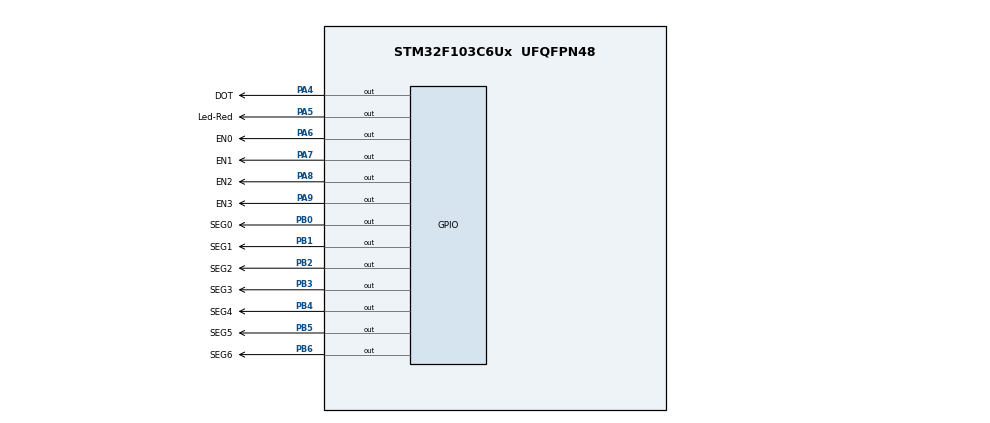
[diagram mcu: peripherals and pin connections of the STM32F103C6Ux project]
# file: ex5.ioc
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Mcu.Family=STM32F1
Mcu.Name=STM32F103C6Ux
Mcu.Package=UFQFPN48
NVIC.PriorityGroup=NVIC_PRIORITYGROUP_4
NVIC.TIM2_IRQn=true\:0\:0\:false\:false\:true\:true\:true
PA4.GPIO_Label=DOT
PA4.Signal=GPIO_Output
PA5.GPIO_Label=Led-Red
PA5.Signal=GPIO_Output
PA6.GPIO_Label=EN0
PA6.Signal=GPIO_Output
PA7.GPIO_Label=EN1
PA7.Signal=GPIO_Output
PA8.GPIO_Label=EN2
PA8.Signal=GPIO_Output
PA9.GPIO_Label=EN3
PA9.Signal=GPIO_Output
PB0.GPIO_Label=SEG0
PB0.Signal=GPIO_Output
PB1.GPIO_Label=SEG1
PB1.Signal=GPIO_Output
PB2.GPIO_Label=SEG2
PB2.Signal=GPIO_Output
PB3.GPIO_Label=SEG3
PB3.Signal=GPIO_Output
PB4.GPIO_Label=SEG4
PB4.Signal=GPIO_Output
PB5.GPIO_Label=SEG5
PB5.Signal=GPIO_Output
PB6.GPIO_Label=SEG6
PB6.Signal=GPIO_Output
ProjectManager.HeapSize=0x200
ProjectManager.StackSize=0x400
ProjectManager.TargetToolchain=STM32CubeIDE
RCC.APB1Freq_Value=8000000
RCC.APB2Freq_Value=8000000
TIM2.Period=9
TIM2.Prescaler=7999
VP_SYS_VS_ND.Mode=No_Debug
VP_TIM2_VS_ClockSourceINT.Mode=Internal
board=custom

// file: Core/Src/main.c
/* USER CODE BEGIN Header */
/**
  ******************************************************************************
  * @file           : main.c
  * @brief          : Giải quyết Bài 5 - Digital Clock với khối ngắt Timer (Tối ưu tần số quét)
  ******************************************************************************
  */
/* USER CODE END Header */
#include "main.h"

TIM_HandleTypeDef htim2;

void SystemClock_Config(void);
static void MX_GPIO_Init(void);
static void MX_TIM2_Init(void);

/* USER CODE BEGIN PFP */
void update7SEG(int index);
void display7SEG(uint8_t num);
void turnOffAll7SEG(void);
void updateClockBuffer(void);
/* USER CODE END PFP */

/* USER CODE BEGIN 0 */
int hour = 15;
int minute = 8;
int second = 50;
int led_buffer[4] = {1, 5, 0, 8};
int index_led = 0;
const int MAX_LED = 4;

int led_scan_counter = 0; // Biến đếm để giảm tần số quét LED 7 đoạn xuống 1Hz

void updateClockBuffer(void) {
    // Tách các chữ số hiển thị
    led_buffer[0] = hour / 10;
    led_buffer[1] = hour % 10;
    led_buffer[2] = minute / 10;
    led_buffer[3] = minute % 10;
}

void display7SEG(uint8_t num) {
    const uint8_t segment[10][7] = {
        {1, 1, 1, 1, 1, 1, 0}, // 0
        {0, 1, 1, 0, 0, 0, 0}, // 1
        {1, 1, 0, 1, 1, 0, 1}, // 2
        {1, 1, 1, 1, 0, 0, 1}, // 3
        {0, 1, 1, 0, 0, 1, 1}, // 4
        {1, 0, 1, 1, 0, 1, 1}, // 5
        {1, 0, 1, 1, 1, 1, 1}, // 6
        {1, 1, 1, 0, 0, 0, 0}, // 7
        {1, 1, 1, 1, 1, 1, 1}, // 8
        {1, 1, 1, 1, 0, 1, 1}  // 9
    };

    if (num > 9) return;

    HAL_GPIO_WritePin(SEG0_GPIO_Port, SEG0_Pin, segment[num][0] ? GPIO_PIN_RESET : GPIO_PIN_SET);
    HAL_GPIO_WritePin(SEG1_GPIO_Port, SEG1_Pin, segment[num][1] ? GPIO_PIN_RESET : GPIO_PIN_SET);
    HAL_GPIO_WritePin(SEG2_GPIO_Port, SEG2_Pin, segment[num][2] ? GPIO_PIN_RESET : GPIO_PIN_SET);
    HAL_GPIO_WritePin(SEG3_GPIO_Port, SEG3_Pin, segment[num][3] ? GPIO_PIN_RESET : GPIO_PIN_SET);
    HAL_GPIO_WritePin(SEG4_GPIO_Port, SEG4_Pin, segment[num][4] ? GPIO_PIN_RESET : GPIO_PIN_SET);
    HAL_GPIO_WritePin(SEG5_GPIO_Port, SEG5_Pin, segment[num][5] ? GPIO_PIN_RESET : GPIO_PIN_SET);
    HAL_GPIO_WritePin(SEG6_GPIO_Port, SEG6_Pin, segment[num][6] ? GPIO_PIN_RESET : GPIO_PIN_SET);
}

void turnOffAll7SEG(void) {
    HAL_GPIO_WritePin(EN0_GPIO_Port, EN0_Pin, GPIO_PIN_SET);
    HAL_GPIO_WritePin(EN1_GPIO_Port, EN1_Pin, GPIO_PIN_SET);
    HAL_GPIO_WritePin(EN2_GPIO_Port, EN2_Pin, GPIO_PIN_SET);
    HAL_GPIO_WritePin(EN3_GPIO_Port, EN3_Pin, GPIO_PIN_SET);
}

void update7SEG(int index) {
    turnOffAll7SEG();

    switch (index) {
        case 0:
            display7SEG(led_buffer[0]);
            HAL_GPIO_WritePin(EN0_GPIO_Port, EN0_Pin, GPIO_PIN_RESET);
            break;
        case 1:
            display7SEG(led_buffer[1]);
            HAL_GPIO_WritePin(EN1_GPIO_Port, EN1_Pin, GPIO_PIN_RESET);
            break;
        case 2:
            display7SEG(led_buffer[2]);
            HAL_GPIO_WritePin(EN2_GPIO_Port, EN2_Pin, GPIO_PIN_RESET);
            break;
        case 3:
            display7SEG(led_buffer[3]);
            HAL_GPIO_WritePin(EN3_GPIO_Port, EN3_Pin, GPIO_PIN_RESET);
            break;
        default:
            break;
    }
}
/* USER CODE END 0 */

int main(void)
{
  /* MCU Configuration--------------------------------------------------------*/
  HAL_Init();
  SystemClock_Config();
  MX_GPIO_Init();
  MX_TIM2_Init();

  /* USER CODE BEGIN 2 */
  updateClockBuffer();
  HAL_TIM_Base_Start_IT(&htim2);
  /* USER CODE END 2 */

  /* Infinite loop */
  /* USER CODE BEGIN WHILE */
  while (1)
  {
      // Bài 5: Xử lý logic đồng hồ và thời gian bằng hàm Delay
      second++;
      if (second >= 60) {
          second = 0;
          minute++;
          if (minute >= 60) {
              minute = 0;
              hour++;
          }
      }
      if (hour >= 24) {
          hour = 0;
      }

      updateClockBuffer();

      // Chớp tắt LED DOT nhịp nhàng theo đồng hồ đếm (mỗi 1 giây)
      HAL_GPIO_TogglePin(DOT_GPIO_Port, DOT_Pin);

      // Tạo trễ chặn để mô phỏng 1 giây trôi qua
      HAL_Delay(1000);
  /* USER CODE END WHILE */

  }
}

void SystemClock_Config(void)
{
  RCC_OscInitTypeDef RCC_OscInitStruct = {0};
  RCC_ClkInitTypeDef RCC_ClkInitStruct = {0};

  RCC_OscInitStruct.OscillatorType = RCC_OSCILLATORTYPE_HSI;
  RCC_OscInitStruct.HSIState = RCC_HSI_ON;
  RCC_OscInitStruct.HSICalibrationValue = RCC_HSICALIBRATION_DEFAULT;
  RCC_OscInitStruct.PLL.PLLState = RCC_PLL_NONE;
  if (HAL_RCC_OscConfig(&RCC_OscInitStruct) != HAL_OK)
  {
    Error_Handler();
  }

  RCC_ClkInitStruct.ClockType = RCC_CLOCKTYPE_HCLK|RCC_CLOCKTYPE_SYSCLK
                              |RCC_CLOCKTYPE_PCLK1|RCC_CLOCKTYPE_PCLK2;
  RCC_ClkInitStruct.SYSCLKSource = RCC_SYSCLKSOURCE_HSI;
  RCC_ClkInitStruct.AHBCLKDivider = RCC_SYSCLK_DIV1;
  RCC_ClkInitStruct.APB1CLKDivider = RCC_HCLK_DIV1;
  RCC_ClkInitStruct.APB2CLKDivider = RCC_HCLK_DIV1;

  if (HAL_RCC_ClockConfig(&RCC_ClkInitStruct, FLASH_LATENCY_0) != HAL_OK)
  {
    Error_Handler();
  }
}

static void MX_TIM2_Init(void)
{
  TIM_ClockConfigTypeDef sClockSourceConfig = {0};
  TIM_MasterConfigTypeDef sMasterConfig = {0};

  htim2.Instance = TIM2;
  htim2.Init.Prescaler = 7999;
  htim2.Init.CounterMode = TIM_COUNTERMODE_UP;
  htim2.Init.Period = 9;
  htim2.Init.ClockDivision = TIM_CLOCKDIVISION_DIV1;
  htim2.Init.AutoReloadPreload = TIM_AUTORELOAD_PRELOAD_DISABLE;
  if (HAL_TIM_Base_Init(&htim2) != HAL_OK)
  {
    Error_Handler();
  }
  sClockSourceConfig.ClockSource = TIM_CLOCKSOURCE_INTERNAL;
  if (HAL_TIM_ConfigClockSource(&htim2, &sClockSourceConfig) != HAL_OK)
  {
    Error_Handler();
  }
  sMasterConfig.MasterOutputTrigger = TIM_TRGO_RESET;
  sMasterConfig.MasterSlaveMode = TIM_MASTERSLAVEMODE_DISABLE;
  if (HAL_TIMEx_MasterConfigSynchronization(&htim2, &sMasterConfig) != HAL_OK)
  {
    Error_Handler();
  }
}

static void MX_GPIO_Init(void)
{
  GPIO_InitTypeDef GPIO_InitStruct = {0};

  /* GPIO Ports Clock Enable */
  __HAL_RCC_GPIOA_CLK_ENABLE();
  __HAL_RCC_GPIOB_CLK_ENABLE();

  /*Configure GPIO pin Output Level */
  HAL_GPIO_WritePin(GPIOA, DOT_Pin|Led_Red_Pin|EN0_Pin|EN1_Pin|EN2_Pin|EN3_Pin, GPIO_PIN_RESET);
  HAL_GPIO_WritePin(GPIOB, SEG0_Pin|SEG1_Pin|SEG2_Pin|SEG3_Pin|SEG4_Pin|SEG5_Pin|SEG6_Pin, GPIO_PIN_RESET);

  /*Configure GPIO pins : DOT_Pin Led_Red_Pin EN0_Pin EN1_Pin EN2_Pin EN3_Pin */
  GPIO_InitStruct.Pin = DOT_Pin|Led_Red_Pin|EN0_Pin|EN1_Pin|EN2_Pin|EN3_Pin;
  GPIO_InitStruct.Mode = GPIO_MODE_OUTPUT_PP;
  GPIO_InitStruct.Pull = GPIO_NOPULL;
  GPIO_InitStruct.Speed = GPIO_SPEED_FREQ_LOW;
  HAL_GPIO_Init(GPIOA, &GPIO_InitStruct);

  /*Configure GPIO pins : SEG0_Pin SEG1_Pin SEG2_Pin SEG3_Pin SEG4_Pin SEG5_Pin SEG6_Pin */
  GPIO_InitStruct.Pin = SEG0_Pin|SEG1_Pin|SEG2_Pin|SEG3_Pin|SEG4_Pin|SEG5_Pin|SEG6_Pin;
  GPIO_InitStruct.Mode = GPIO_MODE_OUTPUT_PP;
  GPIO_InitStruct.Pull = GPIO_NOPULL;
  GPIO_InitStruct.Speed = GPIO_SPEED_FREQ_LOW;
  HAL_GPIO_Init(GPIOB, &GPIO_InitStruct);
}

/* USER CODE BEGIN 4 */
void HAL_TIM_PeriodElapsedCallback(TIM_HandleTypeDef *htim)
{
    // Ngắt Timer gọi mỗi 10ms
    if (htim->Instance == TIM2)
    {
        led_scan_counter++;

        // Chờ đủ 25 ticks (25 x 10ms = 250ms) mới chuyển sang LED tiếp theo
        if (led_scan_counter >= 25)
        {
            led_scan_counter = 0;
            update7SEG(index_led);
            index_led++;
            if (index_led >= MAX_LED)
            {
                index_led = 0;
            }
        }
    }
}
/* USER CODE END 4 */

void Error_Handler(void)
{
  __disable_irq();
  while (1) {}
}
